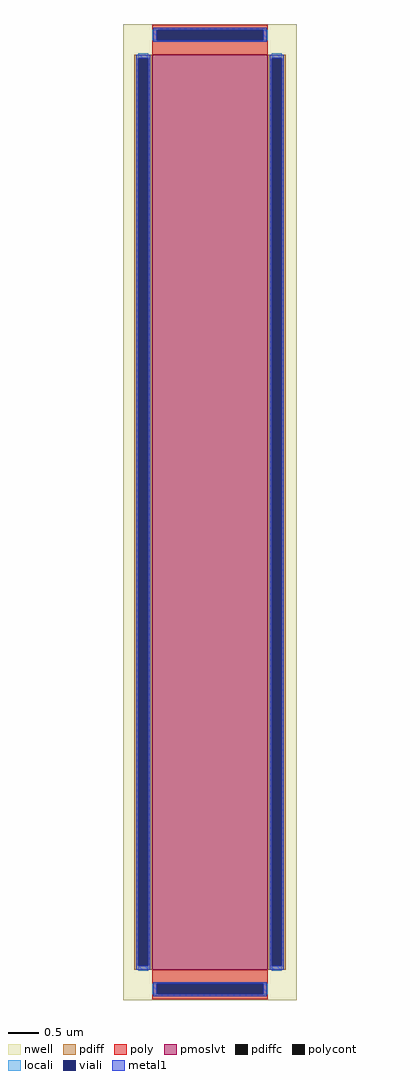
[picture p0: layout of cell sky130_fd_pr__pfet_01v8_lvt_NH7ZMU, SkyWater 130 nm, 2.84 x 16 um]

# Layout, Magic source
magic
tech sky130A
magscale 1 2
<< nwell >>
rect -284 -1600 284 1600
<< pmoslvt >>
rect -190 -1500 190 1500
<< pdiff >>
rect -248 1488 -190 1500
rect -248 -1488 -236 1488
rect -202 -1488 -190 1488
rect -248 -1500 -190 -1488
rect 190 1488 248 1500
rect 190 -1488 202 1488
rect 236 -1488 248 1488
rect 190 -1500 248 -1488
<< pdiffc >>
rect -236 -1488 -202 1488
rect 202 -1488 236 1488
<< poly >>
rect -190 1581 190 1597
rect -190 1547 -174 1581
rect 174 1547 190 1581
rect -190 1500 190 1547
rect -190 -1547 190 -1500
rect -190 -1581 -174 -1547
rect 174 -1581 190 -1547
rect -190 -1597 190 -1581
<< polycont >>
rect -174 1547 174 1581
rect -174 -1581 174 -1547
<< locali >>
rect -190 1547 -174 1581
rect 174 1547 190 1581
rect -236 1488 -202 1504
rect -236 -1504 -202 -1488
rect 202 1488 236 1504
rect 202 -1504 236 -1488
rect -190 -1581 -174 -1547
rect 174 -1581 190 -1547
<< viali >>
rect -174 1547 174 1581
rect -236 -1488 -202 1488
rect 202 -1488 236 1488
rect -174 -1581 174 -1547
<< metal1 >>
rect -186 1581 186 1587
rect -186 1547 -174 1581
rect 174 1547 186 1581
rect -186 1541 186 1547
rect -242 1488 -196 1500
rect -242 -1488 -236 1488
rect -202 -1488 -196 1488
rect -242 -1500 -196 -1488
rect 196 1488 242 1500
rect 196 -1488 202 1488
rect 236 -1488 242 1488
rect 196 -1500 242 -1488
rect -186 -1547 186 -1541
rect -186 -1581 -174 -1547
rect 174 -1581 186 -1547
rect -186 -1587 186 -1581
<< properties >>
string gencell sky130_fd_pr__pfet_01v8_lvt
string library sky130
string parameters w 15.0 l 1.9 m 1 nf 1 diffcov 100 polycov 100 guard 0 glc 1 grc 1 gtc 1 gbc 1 tbcov 100 rlcov 100 topc 1 botc 1 poverlap 0 doverlap 1 lmin 0.35 wmin 0.42 class mosfet compatible {sky130_fd_pr__pfet_01v8  sky130_fd_pr__pfet_01v8_lvt sky130_fd_pr__pfet_01v8_hvt  sky130_fd_pr__pfet_g5v0d10v5} full_metal 1 viasrc 100 viadrn 100 viagate 100 viagb 0 viagr 0 viagl 0 viagt 0
<< end >>
